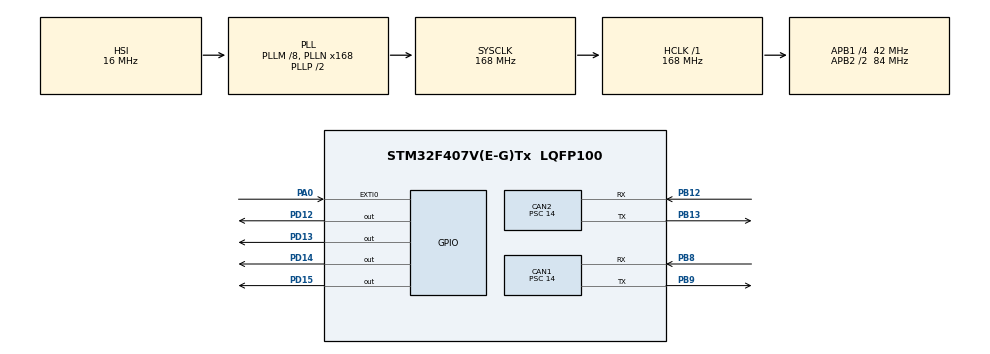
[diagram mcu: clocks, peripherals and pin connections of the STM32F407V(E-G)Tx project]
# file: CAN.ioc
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CAN1.BS1=CAN_BS1_2TQ
CAN1.BS2=CAN_BS2_3TQ
CAN1.CalculateBaudRate=499999
CAN1.CalculateTimeBit=2000
CAN1.CalculateTimeQuantum=333.33333333333337
CAN1.NART=ENABLE
CAN1.Prescaler=14
CAN1.SJW=CAN_SJW_2TQ
CAN2.BS1=CAN_BS1_2TQ
CAN2.BS2=CAN_BS2_3TQ
CAN2.CalculateBaudRate=499999
CAN2.CalculateTimeBit=2000
CAN2.CalculateTimeQuantum=333.33333333333337
CAN2.NART=ENABLE
CAN2.Prescaler=14
CAN2.SJW=CAN_SJW_2TQ
Mcu.Family=STM32F4
Mcu.Name=STM32F407V(E-G)Tx
Mcu.Package=LQFP100
NVIC.CAN1_RX0_IRQn=true\:0\:0\:false\:false\:true\:true\:true
NVIC.CAN1_RX1_IRQn=true\:0\:0\:false\:false\:true\:true\:true
NVIC.CAN1_TX_IRQn=true\:0\:0\:false\:false\:true\:true\:true
NVIC.EXTI0_IRQn=true\:0\:0\:false\:false\:true\:true\:true
NVIC.PriorityGroup=NVIC_PRIORITYGROUP_4
PA0-WKUP.Signal=GPXTI0
PB12.Mode=CAN_Activate
PB12.Signal=CAN2_RX
PB13.Mode=CAN_Activate
PB13.Signal=CAN2_TX
PB8.Mode=CAN_Activate
PB8.Signal=CAN1_RX
PB9.Mode=CAN_Activate
PB9.Signal=CAN1_TX
PD12.Signal=GPIO_Output
PD13.Signal=GPIO_Output
PD14.Signal=GPIO_Output
PD15.Signal=GPIO_Output
PH0-OSC_IN.Mode=HSE-External-Oscillator
PH0-OSC_IN.Signal=RCC_OSC_IN
PH1-OSC_OUT.Mode=HSE-External-Oscillator
PH1-OSC_OUT.Signal=RCC_OSC_OUT
ProjectManager.HeapSize=0x200
ProjectManager.StackSize=0x400
ProjectManager.TargetToolchain=STM32CubeIDE
RCC.48MHZClocksFreq_Value=84000000
RCC.AHBFreq_Value=168000000
RCC.APB1CLKDivider=RCC_HCLK_DIV4
RCC.APB1Freq_Value=42000000
RCC.APB1TimFreq_Value=84000000
RCC.APB2CLKDivider=RCC_HCLK_DIV2
RCC.APB2Freq_Value=84000000
RCC.APB2TimFreq_Value=168000000
RCC.CortexFreq_Value=168000000
RCC.HCLKFreq_Value=168000000
RCC.HSE_VALUE=25000000
RCC.HSI_VALUE=16000000
RCC.LSE_VALUE=32768
RCC.PLLM=8
RCC.PLLN=168
RCC.SYSCLKFreq_VALUE=168000000
RCC.SYSCLKSource=RCC_SYSCLKSOURCE_PLLCLK
RCC.VCOOutputFreq_Value=336000000
board=custom

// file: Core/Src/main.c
/* USER CODE BEGIN Header */
/**
  ******************************************************************************
  * @file           : main.c
  * @brief          : Main program body
  ******************************************************************************
  * @attention
  *
  * <h2><center>&copy; Copyright (c) 2021 STMicroelectronics.
  * All rights reserved.</center></h2>
  *
  * This software component is licensed by ST under BSD 3-Clause license,
  * the "License"; You may not use this file except in compliance with the
  * License. You may obtain a copy of the License at:
  *                        opensource.org/licenses/BSD-3-Clause
  *
  ******************************************************************************
  */
/* USER CODE END Header */
#include "main.h"

CAN_HandleTypeDef hcan1;
CAN_HandleTypeDef hcan2;

/* USER CODE BEGIN PV */
CAN_TxHeaderTypeDef TxHeader;
CAN_RxHeaderTypeDef RxHeader;

uint8_t TxData[8];
uint8_t RxData[8];

uint32_t TxMailbox;

int datacheck = 0;

void HAL_GPIO_EXTI_Callback(uint16_t GPIO_Pin)
{
	if (GPIO_Pin == GPIO_PIN_0)
	{
		TxData[0] = 100;   // ms Delay
		TxData[1] = 40;    // loop rep

		//HAL_CAN_AddTxMessage(&hcan1, &TxHeader, TxData, &TxMailbox);
		HAL_GPIO_TogglePin(GPIOD, GPIO_PIN_13);
		if(HAL_CAN_AddTxMessage(&hcan1, &TxHeader, TxData, &TxMailbox)!= HAL_OK)
		{
			HAL_GPIO_TogglePin(GPIOD, GPIO_PIN_15);
			Error_Handler();
		}
		else
		{
			HAL_GPIO_TogglePin(GPIOD, GPIO_PIN_14);
		}
	}
}

void HAL_CAN_RxFifo0MsgPendingCallback(CAN_HandleTypeDef *hcan)
{
	if(HAL_CAN_GetRxMessage(&hcan1, CAN_RX_FIFO0, &RxHeader, RxData) != HAL_OK)
	{
		Error_Handler();
	}
	if ((RxHeader.DLC == 2)&& (RxHeader.StdId==0x103))
	{
		datacheck = 1;
	}
}

/* USER CODE END PV */

void SystemClock_Config(void);
static void MX_GPIO_Init(void);
static void MX_CAN1_Init(void);
static void MX_CAN2_Init(void);

int main(void)
{

  /* MCU Configuration--------------------------------------------------------*/

  /* Reset of all peripherals, Initializes the Flash interface and the Systick. */
  HAL_Init();

  /* Configure the system clock */
  SystemClock_Config();

  /* Initialize all configured peripherals */
  MX_GPIO_Init();
  MX_CAN1_Init();
  MX_CAN2_Init();
  /* USER CODE BEGIN 2 */
  HAL_CAN_Start(&hcan1);

  // Activate the notification
  //HAL_CAN_ActivateNotification(&hcan1, CAN_IT_RX_FIFO0_MSG_PENDING);
  if(HAL_CAN_ActivateNotification(&hcan1, CAN_IT_RX_FIFO0_MSG_PENDING) != HAL_OK)
  {
	  Error_Handler();
  }

  TxHeader.DLC = 2;  // data length, 2 bytes
  TxHeader.IDE = CAN_ID_STD; //standard id
  TxHeader.RTR = CAN_RTR_DATA; //seding data frame
  TxHeader.StdId = 0x446;  // ID
  /* USER CODE END 2 */

  /* Infinite loop */
  while (1)
  {

    /* USER CODE BEGIN 3 */
	  if(datacheck)
	  {
		  HAL_GPIO_WritePin(GPIOD, GPIO_PIN_12, SET);
	  }
  }
  /* USER CODE END 3 */
}

void SystemClock_Config(void)
{
  RCC_OscInitTypeDef RCC_OscInitStruct = {0};
  RCC_ClkInitTypeDef RCC_ClkInitStruct = {0};

  /** Configure the main internal regulator output voltage
  */
  __HAL_RCC_PWR_CLK_ENABLE();
  __HAL_PWR_VOLTAGESCALING_CONFIG(PWR_REGULATOR_VOLTAGE_SCALE1);
  /** Initializes the RCC Oscillators according to the specified parameters
  * in the RCC_OscInitTypeDef structure.
  */
  RCC_OscInitStruct.OscillatorType = RCC_OSCILLATORTYPE_HSI;
  RCC_OscInitStruct.HSIState = RCC_HSI_ON;
  RCC_OscInitStruct.HSICalibrationValue = RCC_HSICALIBRATION_DEFAULT;
  RCC_OscInitStruct.PLL.PLLState = RCC_PLL_ON;
  RCC_OscInitStruct.PLL.PLLSource = RCC_PLLSOURCE_HSI;
  RCC_OscInitStruct.PLL.PLLM = 8;
  RCC_OscInitStruct.PLL.PLLN = 168;
  RCC_OscInitStruct.PLL.PLLP = RCC_PLLP_DIV2;
  RCC_OscInitStruct.PLL.PLLQ = 4;
  if (HAL_RCC_OscConfig(&RCC_OscInitStruct) != HAL_OK)
  {
    Error_Handler();
  }
  /** Initializes the CPU, AHB and APB buses clocks
  */
  RCC_ClkInitStruct.ClockType = RCC_CLOCKTYPE_HCLK|RCC_CLOCKTYPE_SYSCLK
                              |RCC_CLOCKTYPE_PCLK1|RCC_CLOCKTYPE_PCLK2;
  RCC_ClkInitStruct.SYSCLKSource = RCC_SYSCLKSOURCE_PLLCLK;
  RCC_ClkInitStruct.AHBCLKDivider = RCC_SYSCLK_DIV1;
  RCC_ClkInitStruct.APB1CLKDivider = RCC_HCLK_DIV4;
  RCC_ClkInitStruct.APB2CLKDivider = RCC_HCLK_DIV2;

  if (HAL_RCC_ClockConfig(&RCC_ClkInitStruct, FLASH_LATENCY_5) != HAL_OK)
  {
    Error_Handler();
  }
}

static void MX_CAN1_Init(void)
{

  hcan1.Instance = CAN1;
  hcan1.Init.Prescaler = 14;
  hcan1.Init.Mode = CAN_MODE_NORMAL;
  hcan1.Init.SyncJumpWidth = CAN_SJW_2TQ;
  hcan1.Init.TimeSeg1 = CAN_BS1_2TQ;
  hcan1.Init.TimeSeg2 = CAN_BS2_3TQ;
  hcan1.Init.TimeTriggeredMode = DISABLE;
  hcan1.Init.AutoBusOff = DISABLE;
  hcan1.Init.AutoWakeUp = DISABLE;
  hcan1.Init.AutoRetransmission = ENABLE;
  hcan1.Init.ReceiveFifoLocked = DISABLE;
  hcan1.Init.TransmitFifoPriority = DISABLE;
  if (HAL_CAN_Init(&hcan1) != HAL_OK)
  {
    Error_Handler();
  }
  /* USER CODE BEGIN CAN1_Init 2 */
  CAN_FilterTypeDef canfilterconfig;

  canfilterconfig.FilterActivation = CAN_FILTER_ENABLE;
  canfilterconfig.FilterBank = 18;  // which filter bank to use from the assigned ones
  canfilterconfig.FilterFIFOAssignment = CAN_FILTER_FIFO0;
  canfilterconfig.FilterIdHigh = 0x446<<5;
  canfilterconfig.FilterIdLow = 0;
  canfilterconfig.FilterMaskIdHigh = 0x446<<5;
  canfilterconfig.FilterMaskIdLow = 0x0000;
  canfilterconfig.FilterMode = CAN_FILTERMODE_IDMASK;
  canfilterconfig.FilterScale = CAN_FILTERSCALE_32BIT;
  canfilterconfig.SlaveStartFilterBank = 20;  // how many filters to assign to the CAN1 (master can)

  HAL_CAN_ConfigFilter(&hcan1, &canfilterconfig);

  /* FilterACtivation: enable Filter or not
   * SlaveStartFilterBank: how many filter banks do we want to assign to CAN
   * 					basically with dual CAN peripheral have 28. Here we assign 20
   * FilterBank: specifies which filter bank do we want to use for the filter Process.
   * FilterFIFOAssignment: which FIFO to receive message. Generally have 2 FIFOS (0,1)
   * FilterMode:
   * 	 MASK MODE: use Mask register to compare some particular bits in the ID register
   * 				to the incoming ID;
   * 	LIST MODE: the incoming ID is directly compared with the ID set in the ID Register
   * FilterScale: one 32 bit Filter Register or 2 16 bit
   * FilterIdHigh: the Higher 16 bits of the ID register. The value set in this register will
   * 			be compared to the incoming Identifier.
   * 			Here we only compare the STD ID of incoming message, so shift the value by 5
   * 			The STD ID starts from 5th bit in the ID HIGH register
   * FilterMaskIdHigh: Higher 16 bits of the MASK register.
   * 			Enable the comparison of that particular bit in the ID register to that of
   * 			the incoming ID
   * */

  /* USER CODE END CAN1_Init 2 */

}

static void MX_CAN2_Init(void)
{

  hcan2.Instance = CAN2;
  hcan2.Init.Prescaler = 14;
  hcan2.Init.Mode = CAN_MODE_NORMAL;
  hcan2.Init.SyncJumpWidth = CAN_SJW_2TQ;
  hcan2.Init.TimeSeg1 = CAN_BS1_2TQ;
  hcan2.Init.TimeSeg2 = CAN_BS2_3TQ;
  hcan2.Init.TimeTriggeredMode = DISABLE;
  hcan2.Init.AutoBusOff = DISABLE;
  hcan2.Init.AutoWakeUp = DISABLE;
  hcan2.Init.AutoRetransmission = ENABLE;
  hcan2.Init.ReceiveFifoLocked = DISABLE;
  hcan2.Init.TransmitFifoPriority = DISABLE;
  if (HAL_CAN_Init(&hcan2) != HAL_OK)
  {
    Error_Handler();
  }

}

static void MX_GPIO_Init(void)
{
  GPIO_InitTypeDef GPIO_InitStruct = {0};

  /* GPIO Ports Clock Enable */
  __HAL_RCC_GPIOH_CLK_ENABLE();
  __HAL_RCC_GPIOA_CLK_ENABLE();
  __HAL_RCC_GPIOB_CLK_ENABLE();
  __HAL_RCC_GPIOD_CLK_ENABLE();

  /*Configure GPIO pin Output Level */
  HAL_GPIO_WritePin(GPIOD, GPIO_PIN_12|GPIO_PIN_13|GPIO_PIN_14|GPIO_PIN_15, GPIO_PIN_RESET);

  /*Configure GPIO pin : PA0 */
  GPIO_InitStruct.Pin = GPIO_PIN_0;
  GPIO_InitStruct.Mode = GPIO_MODE_IT_RISING;
  GPIO_InitStruct.Pull = GPIO_NOPULL;
  HAL_GPIO_Init(GPIOA, &GPIO_InitStruct);

  /*Configure GPIO pins : PD12 PD13 PD14 PD15 */
  GPIO_InitStruct.Pin = GPIO_PIN_12|GPIO_PIN_13|GPIO_PIN_14|GPIO_PIN_15;
  GPIO_InitStruct.Mode = GPIO_MODE_OUTPUT_PP;
  GPIO_InitStruct.Pull = GPIO_NOPULL;
  GPIO_InitStruct.Speed = GPIO_SPEED_FREQ_LOW;
  HAL_GPIO_Init(GPIOD, &GPIO_InitStruct);

  /* EXTI interrupt init*/
  HAL_NVIC_SetPriority(EXTI0_IRQn, 0, 0);
  HAL_NVIC_EnableIRQ(EXTI0_IRQn);

}

void Error_Handler(void)
{
  __disable_irq();
  while (1)
  {
  }
}
